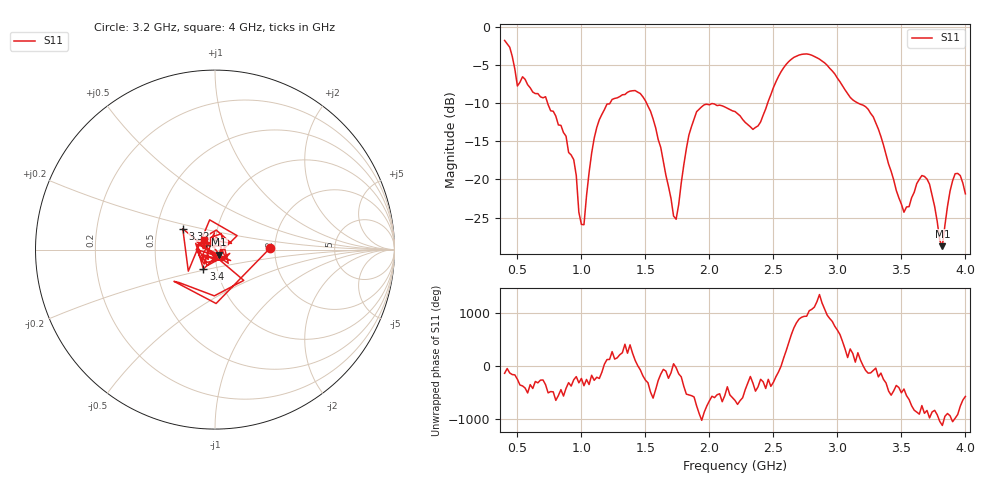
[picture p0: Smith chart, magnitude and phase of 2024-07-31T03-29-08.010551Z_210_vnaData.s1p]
!Created with skrf (http://scikit-rf.org).
# Hz S RI R 50.0
!freq ReS11 ImS11
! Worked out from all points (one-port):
!   181 points, 400 MHz to 4 GHz, reference 50 ohm
!   lowest |S11| = -28.8 dB at 3.82 GHz (marker M1), VSWR 1.08, Z = 52.3 - j2.93 ohm
!   |S11| at or under -10 dB: 736.4 MHz to 1.223 GHz (486.3 MHz wide, 49.6 % of centre); 1.509 GHz to 2.455 GHz (945.2 MHz wide, 47.7 % of centre); 3.163 GHz to end of sweep
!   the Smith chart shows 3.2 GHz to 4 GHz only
!   S11 on the Smith chart (normalised r, x): 3.2 GHz: 1.89, +0.04; 3.32 GHz: 0.68, +0.17; 3.4 GHz: 0.86, -0.19; 4 GHz: 0.88, +0.10
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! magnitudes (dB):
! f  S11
! 400 MHz  -1.8
! 500 MHz  -7.7
! 720 MHz  -9.1
! 860 MHz  -13.8
! 940 MHz  -17.4
! 980 MHz  -24.3
! 1.02 GHz  -25.9
! 1.12 GHz  -13.2
! 1.3 GHz  -9.1
! 1.5 GHz  -9.7
! 1.72 GHz  -24.8
! 1.76 GHz  -23.3
! 1.84 GHz  -14.2
! 1.9 GHz  -11.1
! 2.2 GHz  -11.1
! 2.38 GHz  -13.0
! 2.66 GHz  -4.0
! 2.86 GHz  -4.2
! 3.1 GHz  -9.2
! 3.2 GHz  -10.2
! 3.32 GHz  -13.4
! 3.4 GHz  -18.0
! 3.52 GHz  -24.3
! 3.56 GHz  -23.6
! 3.7 GHz  -19.9
! 3.82 GHz  -28.8
! 3.92 GHz  -19.2
! 4 GHz  -21.9
